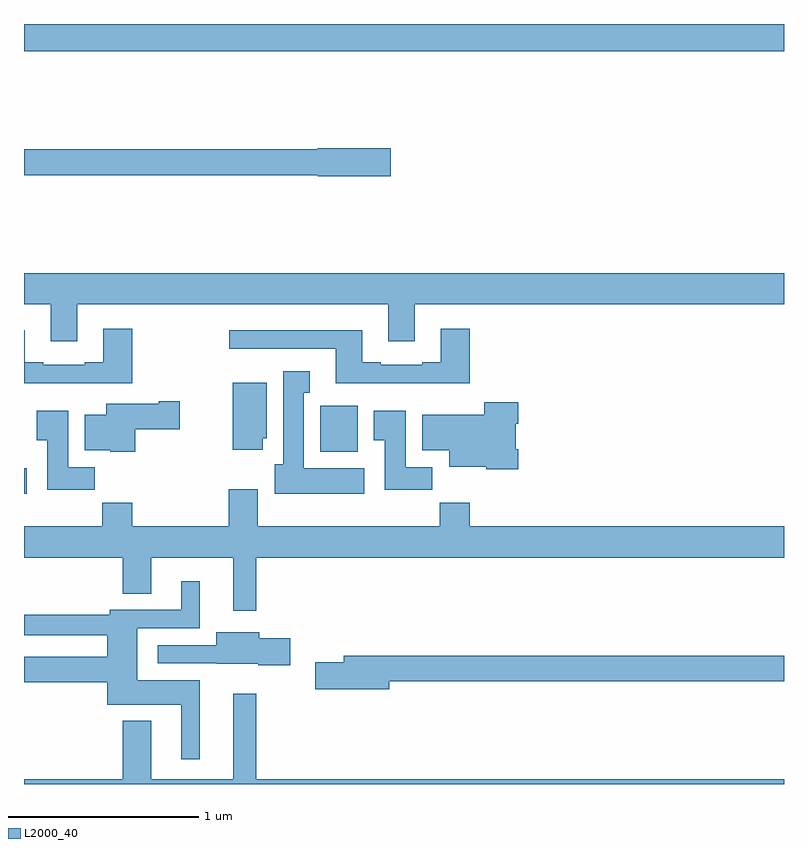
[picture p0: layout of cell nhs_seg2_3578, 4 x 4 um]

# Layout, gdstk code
import gdstk
lib = gdstk.Library(unit=1e-6, precision=1e-09)
def R(c, l, rs):  # rectangles x0, y0, x1, y1
    for r in rs: c.add(gdstk.rectangle(r[:2], r[2:], *l))
def P(c, l, *ps):  # polygons
    for p in ps: c.add(gdstk.Polygon(p, *l))
L2000_40 = (2000, 40)

nhs_seg2_3578 = lib.new_cell('nhs_seg2_3578')
R(nhs_seg2_3578, L2000_40, [(299,625.328,299.014,625.462), (300.56,625.55,300.757,625.792), (299,627.656,303,627.8)])
P(nhs_seg2_3578, L2000_40, [(300.931,627.146),(300.546,627.146),(300.546,627.14),(299,627.14),(299,627.004),(300.546,627.004),(300.546,626.999),(300.931,626.999)],
  [(299.281,626.324),(300.917,626.324),(300.917,626.13),(301.057,626.13),(301.057,626.324),(303,626.324),(303,626.488),(299,626.488),(299,626.324),(299.141,626.324),(299.141,626.13),(299.281,626.13)],
  [(301.346,626.197),(301.193,626.197),(301.193,626.02),(301.097,626.02),(301.097,626.007),(300.877,626.007),(300.877,626.02),(300.781,626.02),(300.781,626.188),(300.081,626.188),(300.081,626.091),(300.641,626.091),(300.641,625.91),(301.346,625.91)],
  [(299.57,626.197),(299.417,626.197),(299.417,626.02),(299.321,626.02),(299.321,626.007),(299.101,626.007),(299.101,626.02),(299.005,626.02),(299.005,626.188),(299,626.188),(299,625.91),(299.57,625.91)],
  [(300.79,625.462),(300.472,625.462),(300.472,625.859),(300.505,625.859),(300.505,625.972),(300.365,625.972),(300.365,625.482),(300.32,625.482),(300.32,625.328),(300.79,625.328)],
  [(300.256,625.62),(300.277,625.62),(300.277,625.912),(300.098,625.912),(300.098,625.56),(300.256,625.56)],
  [(299.585,625.667),(299.821,625.667),(299.821,625.814),(299.708,625.814),(299.708,625.801),(299.432,625.801),(299.432,625.744),(299.321,625.744),(299.321,625.556),(299.454,625.556),(299.454,625.55),(299.585,625.55)],
  [(301.601,625.561),(301.588,625.561),(301.588,625.697),(301.601,625.697),(301.601,625.81),(301.423,625.81),(301.423,625.744),(301.097,625.744),(301.097,625.556),(301.238,625.556),(301.238,625.469),(301.434,625.469),(301.434,625.457),(301.601,625.457)],
  [(299.372,625.468),(299.233,625.468),(299.233,625.765),(299.066,625.765),(299.066,625.609),(299.123,625.609),(299.123,625.35),(299.372,625.35)],
  [(301.148,625.468),(301.009,625.468),(301.009,625.765),(300.842,625.765),(300.842,625.609),(300.899,625.609),(300.899,625.35),(301.148,625.35)],
  [(300.223,624.992),(303,624.992),(303,625.156),(301.346,625.156),(301.346,625.28),(301.189,625.28),(301.189,625.156),(300.229,625.156),(300.229,625.351),(300.077,625.351),(300.077,625.156),(299.57,625.156),(299.57,625.28),(299.413,625.28),(299.413,625.156),(299,625.156),(299,624.992),(299.519,624.992),(299.519,624.802),(299.671,624.802),(299.671,624.992),(300.101,624.992),(300.101,624.711),(300.223,624.711)],
  [(299.926,624.346),(299.596,624.346),(299.596,624.621),(299.926,624.621),(299.926,624.868),(299.828,624.868),(299.828,624.717),(299.45,624.717),(299.45,624.691),(299,624.691),(299,624.582),(299.438,624.582),(299.438,624.469),(299,624.469),(299,624.335),(299.438,624.335),(299.438,624.218),(299.828,624.218),(299.828,623.931),(299.926,623.931)],
  [(300.4,624.567),(300.238,624.567),(300.238,624.598),(300.011,624.598),(300.011,624.531),(299.703,624.531),(299.703,624.435),(300.015,624.435),(300.015,624.434),(300.234,624.434),(300.234,624.425),(300.4,624.425)],
  [(300.922,624.34),(303,624.34),(303,624.476),(300.683,624.476),(300.683,624.44),(300.534,624.44),(300.534,624.298),(300.922,624.298)],
  [(300.101,624.274),(300.101,623.824),(299.671,623.824),(299.671,624.133),(299.519,624.133),(299.519,623.824),(299,623.824),(299,623.8),(303,623.8),(303,623.824),(300.223,623.824),(300.223,624.274)])

lib.write_gds('nhs_seg2_3578.gds')
